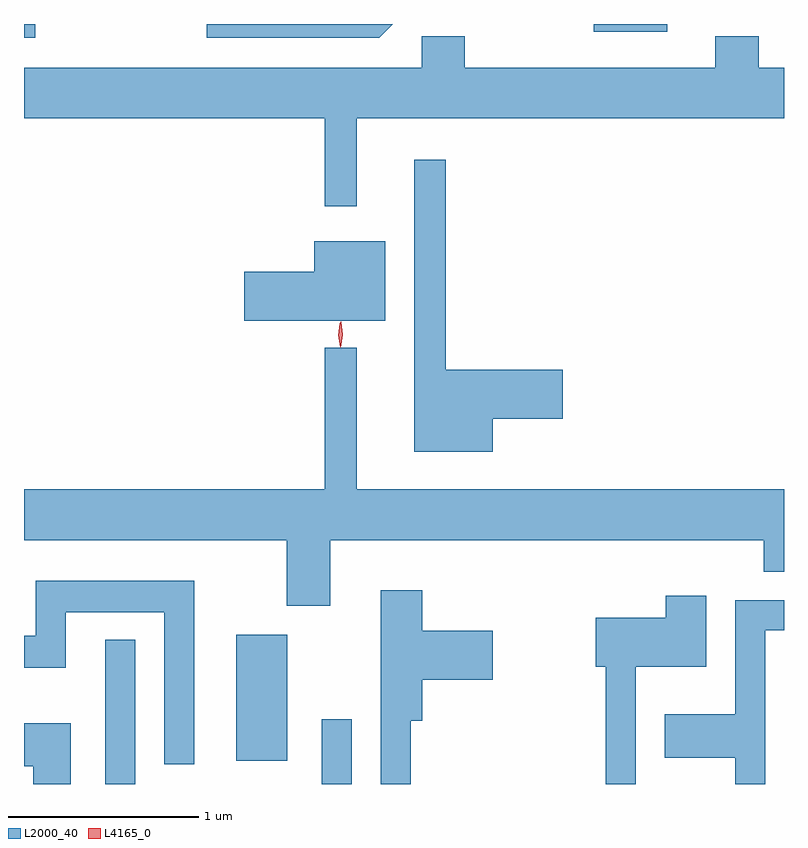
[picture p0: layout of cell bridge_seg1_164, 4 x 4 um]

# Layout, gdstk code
import gdstk
lib = gdstk.Library(unit=1e-6, precision=1e-09)
def R(c, l, rs):  # rectangles x0, y0, x1, y1
    for r in rs: c.add(gdstk.rectangle(r[:2], r[2:], *l))
def P(c, l, *ps):  # polygons
    for p in ps: c.add(gdstk.Polygon(p, *l))
L2000_40 = (2000, 40)
L4165_0 = (4165, 0)

bridge_seg1_164 = lib.new_cell('bridge_seg1_164')
R(bridge_seg1_164, L2000_40, [(802.866,958.233,803.024,958.993), (804.006,958.233,804.164,958.573), (803.556,958.356,803.824,959.019), (802.438,962.161,802.498,962.233), (805.436,962.191,805.823,962.233)])
P(bridge_seg1_164, L2000_40, [(804.379,962.233),(803.401,962.233),(803.401,962.161),(804.307,962.161)],
  [(804.189,961.736),(806.438,961.736),(806.438,962.004),(806.304,962.004),(806.304,962.169),(806.076,962.169),(806.076,962.004),(804.759,962.004),(804.759,962.169),(804.531,962.169),(804.531,962.004),(802.438,962.004),(802.438,961.736),(804.021,961.736),(804.021,961.273),(804.189,961.273)],
  [(804.904,960.156),(805.274,960.156),(805.274,960.414),(804.659,960.414),(804.659,961.518),(804.491,961.518),(804.491,959.981),(804.904,959.981)],
  [(804.339,961.089),(803.966,961.089),(803.966,960.929),(803.596,960.929),(803.596,960.671),(804.339,960.671)],
  [(804.049,959.516),(806.331,959.516),(806.331,959.351),(806.438,959.351),(806.438,959.784),(804.189,959.784),(804.189,960.528),(804.021,960.528),(804.021,959.784),(802.438,959.784),(802.438,959.516),(803.821,959.516),(803.821,959.171),(804.049,959.171)],
  [(803.334,959.304),(802.501,959.304),(802.501,959.014),(802.438,959.014),(802.438,958.846),(802.659,958.846),(802.659,959.136),(803.176,959.136),(803.176,958.338),(803.334,958.338)],
  [(804.474,958.566),(804.534,958.566),(804.534,958.781),(804.904,958.781),(804.904,959.039),(804.534,959.039),(804.534,959.254),(804.316,959.254),(804.316,958.233),(804.474,958.233)],
  [(805.659,958.851),(806.029,958.851),(806.029,959.224),(805.816,959.224),(805.816,959.109),(805.446,959.109),(805.446,958.851),(805.501,958.851),(805.501,958.233),(805.659,958.233)],
  [(806.339,959.041),(806.438,959.041),(806.438,959.199),(806.181,959.199),(806.181,958.599),(805.811,958.599),(805.811,958.371),(806.181,958.371),(806.181,958.233),(806.339,958.233)],
  [(802.684,958.554),(802.438,958.554),(802.438,958.326),(802.486,958.326),(802.486,958.233),(802.684,958.233)])
P(bridge_seg1_164, L4165_0, [(804.105,960.53),(804.105,960.53),(804.096,960.598),(804.106,960.666),(804.107,960.666),(804.108,960.666),(804.116,960.598),(804.106,960.53)],
  [(804.104,960.533),(804.103,960.534),(804.093,960.596),(804.101,960.659),(804.102,960.66),(804.102,960.659),(804.113,960.596),(804.104,960.534)])

lib.write_gds('bridge_seg1_164.gds')
